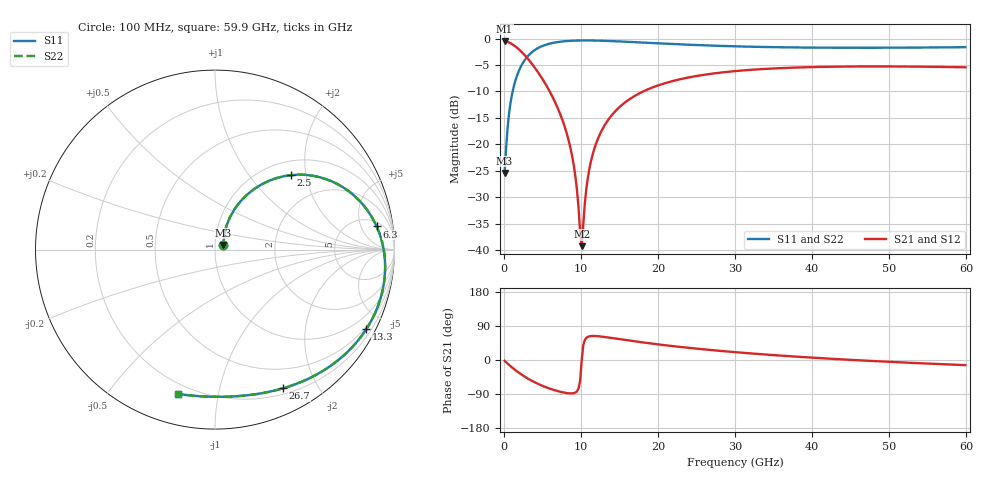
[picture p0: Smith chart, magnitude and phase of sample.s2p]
!Created with skrf (http://scikit-rf.org).
# Hz S RI R 50.0
!freq ReS11 ImS11 ReS21 ImS21 ReS12 ImS12 ReS22 ImS22
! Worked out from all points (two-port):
!   300 points, 100 MHz to 59.9 GHz, reference 50 ohm
!   highest |S21| = -0.43 dB at 100 MHz (marker M1); lowest = -39.3 dB at 10.1 GHz (marker M2)
!   |S21| within 3 dB of the highest: start of sweep to 2.898 GHz
!   lowest |S11| = -25.4 dB at 100 MHz (marker M3), VSWR 1.11, Z = 54.9 + j2.77 ohm
!   |S11| at or under -10 dB: start of sweep to 1.143 GHz
!   |S22| runs from -25.4 to -0.3 dB; largest |S21 - S12| = 1.5e-15
!   S11 on the Smith chart (normalised r, x): 100 MHz: 1.10, +0.06; 2.5 GHz: 1.29, +1.65; 6.3 GHz: 6, +10; 13.3 GHz: 0.42, -4.02; 26.7 GHz: 0.26, -1.57; 59.9 GHz: 0.15, -0.77
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1e8  0.0473 0.0252  0.9507 -0.0347  0.9507 -0.0347  0.0473 0.0252
5e8  0.0636 0.1323  0.9178 -0.1577  0.9178 -0.1577  0.0636 0.1323
9e8  0.1116 0.2294  0.8636 -0.2606  0.8636 -0.2606  0.1116 0.2294
1.5e9  0.2175 0.337  0.7547 -0.3786  0.7547 -0.3786  0.2175 0.337
2.5e9  0.4248 0.4151  0.5453 -0.4774  0.5453 -0.4774  0.4248 0.4151
4.3e9  0.731 0.3355  0.2353 -0.4377  0.2353 -0.4377  0.731 0.3355
6.3e9  0.9005 0.1293  0.0599 -0.2767  0.0599 -0.2767  0.9005 0.1293
7.9e9  0.9449 -0.0369  0.00935 -0.1466  0.00935 -0.1466  0.9449 -0.0369
8.9e9  0.9471 -0.131  0.0026 -0.0749  0.0026 -0.0749  0.9471 -0.131
9.5e9  0.9418 -0.1831  0.00489 -0.0362  0.00489 -0.0362  0.9418 -0.1831
1.01e10  0.9327 -0.232  0.0109 -0.000578  0.0109 -0.000578  0.9327 -0.232
1.05e10  0.9249 -0.2629  0.0165 0.0214  0.0165 0.0214  0.9249 -0.2629
1.11e10  0.9109 -0.3065  0.0271 0.0518  0.0271 0.0518  0.9109 -0.3065
1.21e10  0.8828 -0.3726  0.049 0.096  0.049 0.096  0.8828 -0.3726
1.33e10  0.8438 -0.4418  0.08 0.1392  0.08 0.1392  0.8438 -0.4418
1.61e10  0.7413 -0.5671  0.1612 0.2051  0.1612 0.2051  0.7413 -0.5671
2.01e10  0.5926 -0.681  0.2736 0.238  0.2736 0.238  0.5926 -0.681
2.67e10  0.3795 -0.7727  0.4138 0.2075  0.4138 0.2075  0.3795 -0.7727
3.01e10  0.2882 -0.7951  0.4623 0.1732  0.4623 0.1732  0.2882 -0.7951
4.01e10  0.0754 -0.8192  0.5353 0.057  0.5353 0.057  0.0754 -0.8192
5.01e10  -0.0828 -0.817  0.5437 -0.0466  0.5437 -0.0466  -0.0828 -0.817
5.99e10  -0.2062 -0.8041  0.5209 -0.1251  0.5209 -0.1251  -0.2062 -0.8041
